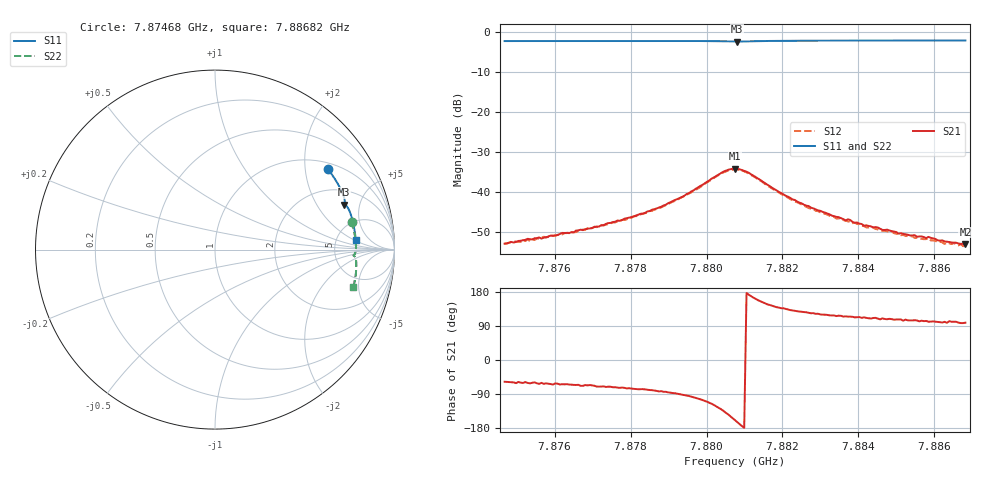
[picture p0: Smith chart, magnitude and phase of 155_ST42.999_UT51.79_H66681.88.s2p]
#  HZ  S  DB  R  50.00
! Rohde & Schwarz Vector Network Analyzer
! Rohde-Schwarz,ZNB20-2Port,1311601062101988,3.16
! Created: UTC 1/12/2023, 6:40:50 PM
! freq[Hz]  db:S11  ang:S11  db:S21  ang:S21  db:S12  ang:S12  db:S22  ang:S22
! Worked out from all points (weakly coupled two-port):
!   201 points, 7.87468 GHz to 7.88682 GHz, reference 50 ohm
!   highest |S21| = -34.08 dB at 7.88075 GHz (marker M1); lowest = -52.9 dB at 7.88682 GHz (marker M2)
!   lowest |S11| = -2.4 dB at 7.88081 GHz (marker M3), VSWR 7.44, Z = 148 + j178 ohm
!   |S11| at or under -10 dB: nowhere
!   |S22| runs from -2.3 to -1.9 dB; largest |S21 - S12| = 0.0013
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7.874684e9  -2.24 35.3  -52.83 -57.4  -52.83 -59.3  -2.20 11.3
7.875291e9  -2.23 33.6  -51.62 -60.5  -51.75 -63.4  -2.18 9.9
7.875351e9  -2.23 33.5  -51.69 -61.6  -52.20 -65.1  -2.17 9.7
7.876747e9  -2.21 29.7  -49.45 -68.1  -49.34 -69.8  -2.13 6.4
7.877899e9  -2.19 26.5  -46.47 -75.1  -46.76 -77.5  -2.11 3.7
7.878748e9  -2.19 24.2  -43.80 -83.0  -43.94 -85.7  -2.10 1.7
7.879415e9  -2.20 22.3  -40.87 -92.6  -40.96 -95.9  -2.10 0.1
7.880386e9  -2.31 19.7  -35.17 -130.1  -35.31 -133.3  -2.22 -2.1
7.88075e9  -2.35 19.3  -34.08 -159.1  -34.29 -162.5  -2.25 -2.4
7.88081e9  -2.35 19.2  -34.15 -164.0  -34.34 -167.5  -2.25 -2.4
7.881053e9  -2.31 19.0  -34.85 176.6  -35.03 173.1  -2.22 -2.5
7.882084e9  -2.17 16.3  -40.86 134.8  -41.09 131.0  -2.06 -4.6
7.882812e9  -2.14 14.3  -44.03 123.7  -44.24 119.3  -2.02 -6.3
7.883661e9  -2.12 12.0  -47.04 115.2  -47.11 112.6  -1.99 -8.3
7.883722e9  -2.12 11.9  -46.74 114.4  -47.29 112.6  -2.00 -8.5
7.884146e9  -2.11 10.7  -48.34 112.6  -48.46 108.7  -1.99 -9.4
7.884813e9  -2.11 9.0  -49.54 108.7  -49.95 105.0  -1.97 -10.9
7.885056e9  -2.11 8.3  -50.35 107.1  -50.40 104.8  -1.97 -11.5
7.885845e9  -2.10 6.3  -51.13 100.9  -51.52 98.9  -1.96 -13.2
7.886269e9  -2.09 5.2  -52.28 100.7  -52.90 99.5  -1.95 -14.1
7.886512e9  -2.09 4.5  -52.56 101.0  -52.66 95.5  -1.95 -14.6
7.886815e9  -2.09 3.7  -52.93 98.5  -53.30 95.2  -1.95 -15.2
